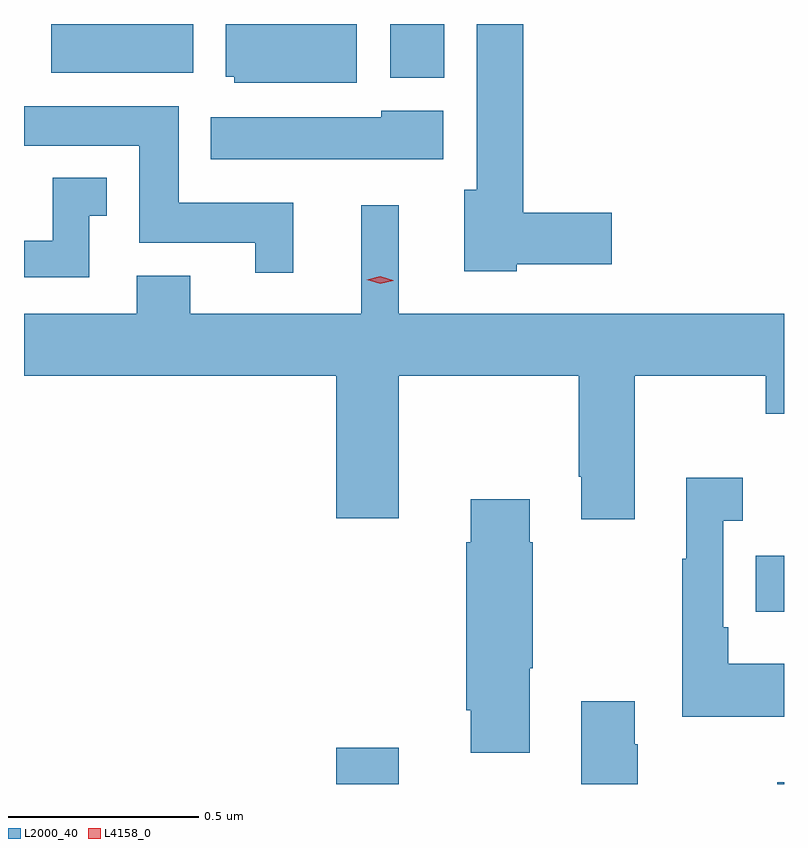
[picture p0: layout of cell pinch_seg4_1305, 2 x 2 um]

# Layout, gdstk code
import gdstk
lib = gdstk.Library(unit=1e-6, precision=1e-09)
def R(c, l, rs):  # rectangles x0, y0, x1, y1
    for r in rs: c.add(gdstk.rectangle(r[:2], r[2:], *l))
def P(c, l, *ps):  # polygons
    for p in ps: c.add(gdstk.Polygon(p, *l))
L2000_40 = (2000, 40)
L4158_0 = (4158, 0)

pinch_seg4_1305 = lib.new_cell('pinch_seg4_1305')
R(pinch_seg4_1305, L2000_40, [(320.852,771.77,321.016,771.865), (322.012,771.77,322.03,771.775), (321.955,772.223,322.03,772.371), (320.994,773.628,321.136,773.77), (320.102,773.642,320.476,773.77)])
P(pinch_seg4_1305, L2000_40, [(320.905,773.77),(320.561,773.77),(320.561,773.631),(320.583,773.631),(320.583,773.615),(320.905,773.615)],
  [(321.327,773.138),(321.577,773.138),(321.577,773.273),(321.344,773.273),(321.344,773.77),(321.221,773.77),(321.221,773.334),(321.188,773.334),(321.188,773.12),(321.327,773.12)],
  [(320.738,773.299),(320.437,773.299),(320.437,773.554),(320.03,773.554),(320.03,773.45),(320.333,773.45),(320.333,773.195),(320.639,773.195),(320.639,773.115),(320.738,773.115)],
  [(321.133,773.542),(320.97,773.542),(320.97,773.524),(320.522,773.524),(320.522,773.414),(321.133,773.414)],
  [(320.202,773.265),(320.248,773.265),(320.248,773.365),(320.106,773.365),(320.106,773.199),(320.03,773.199),(320.03,773.103),(320.202,773.103)],
  [(321.637,772.844),(321.982,772.844),(321.982,772.745),(322.03,772.745),(322.03,773.008),(321.016,773.008),(321.016,773.293),(320.918,773.293),(320.918,773.008),(320.467,773.008),(320.467,773.107),(320.327,773.107),(320.327,773.008),(320.03,773.008),(320.03,772.844),(320.852,772.844),(320.852,772.47),(321.016,772.47),(321.016,772.844),(321.49,772.844),(321.49,772.579),(321.497,772.579),(321.497,772.467),(321.637,772.467)],
  [(322.03,772.087),(321.883,772.087),(321.883,772.183),(321.87,772.183),(321.87,772.463),(321.922,772.463),(321.922,772.576),(321.773,772.576),(321.773,772.363),(321.762,772.363),(321.762,771.947),(322.03,771.947)],
  [(321.361,772.075),(321.369,772.075),(321.369,772.406),(321.361,772.406),(321.361,772.519),(321.206,772.519),(321.206,772.406),(321.194,772.406),(321.194,771.964),(321.206,771.964),(321.206,771.852),(321.361,771.852)],
  [(321.645,771.875),(321.637,771.875),(321.637,771.988),(321.497,771.988),(321.497,771.77),(321.645,771.77)])
P(pinch_seg4_1305, L4158_0, [(320.967,773.086),(320.932,773.097),(320.931,773.097),(320.932,773.097),(320.967,773.106),(321.002,773.096),(321.002,773.095),(321.002,773.095)])

lib.write_gds('pinch_seg4_1305.gds')
